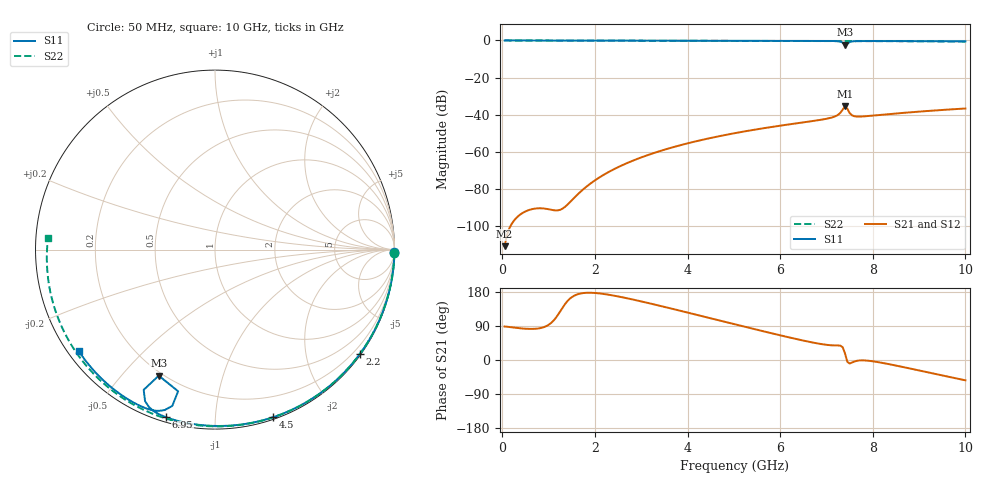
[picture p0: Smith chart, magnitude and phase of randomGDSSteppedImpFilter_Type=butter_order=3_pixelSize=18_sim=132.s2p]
! freq	dB(S11)	phase(S11)	dB(S12)	phase(S12)
!  dB(S21)	phase(S21)	dB(S22)	phase(S22)
!S-par simulation data
#  GHz  S  DB  R 50
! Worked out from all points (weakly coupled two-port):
!   200 points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, 50 MHz to 10 GHz, reference 50 ohm
!   highest |S21| = -35.59 dB at 7.4 GHz (marker M1); lowest = -110.9 dB at 50 MHz (marker M2)
!   lowest |S11| = -2.3 dB at 7.4 GHz (marker M3), VSWR 7.66, Z = 9.21 - j31.7 ohm
!   |S11| at or under -10 dB: nowhere
!   |S22| runs from -0.6 to 0.0 dB; largest |S21 - S12| = 0
!   S11 on the Smith chart (normalised r, x): 50 MHz: open; 2.2 GHz: 0.03, -3.08; 4.5 GHz: 0.02, -1.40; 6.95 GHz: 0.02, -0.75; 10 GHz: 0.03, -0.33
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0.05  -0.00 -0.8  -110.95 88.4  -110.95 88.4  -0.00 -1.0
0.85  -0.02 -14.1  -90.53 85.0  -90.53 85.0  -0.02 -17.4
1.75  -0.04 -28.7  -80.23 176.7  -80.23 176.7  -0.04 -35.5
2.2  -0.05 -35.9  -72.30 174.1  -72.30 174.1  -0.06 -44.4
2.75  -0.06 -44.6  -65.54 161.5  -65.54 161.5  -0.07 -55.0
3.4  -0.07 -54.6  -59.69 143.1  -59.69 143.1  -0.09 -67.2
4.5  -0.10 -71.0  -52.59 110.0  -52.59 110.0  -0.13 -87.2
5.05  -0.12 -79.0  -49.86 93.4  -49.86 93.4  -0.15 -96.9
5.85  -0.15 -90.3  -46.53 69.5  -46.53 69.5  -0.19 -110.7
6.7  -0.21 -102.3  -43.47 46.2  -43.47 46.2  -0.24 -125.0
6.95  -0.24 -106.2  -42.48 40.9  -42.48 40.9  -0.26 -129.3
7.15  -0.31 -110.0  -41.30 38.5  -41.30 38.5  -0.28 -132.6
7.25  -0.44 -112.8  -40.11 38.4  -40.11 38.4  -0.29 -134.3
7.35  -1.14 -117.0  -37.33 33.7  -37.33 33.7  -0.30 -136.0
7.4  -2.28 -114.0  -35.59 17.4  -35.59 17.4  -0.30 -136.8
7.45  -1.77 -104.6  -36.81 -4.5  -36.81 -4.5  -0.30 -137.7
7.5  -0.89 -105.3  -39.11 -9.3  -39.11 -9.3  -0.31 -138.6
7.6  -0.43 -109.1  -40.86 -4.1  -40.86 -4.1  -0.32 -140.3
7.85  -0.31 -114.5  -40.86 -1.3  -40.86 -1.3  -0.34 -144.5
8.35  -0.32 -121.8  -39.73 -11.0  -39.73 -11.0  -0.39 -153.2
9.2  -0.39 -133.1  -38.01 -32.8  -38.01 -32.8  -0.49 -168.5
10  -0.48 -143.5  -36.70 -53.6  -36.70 -53.6  -0.61 176.1
